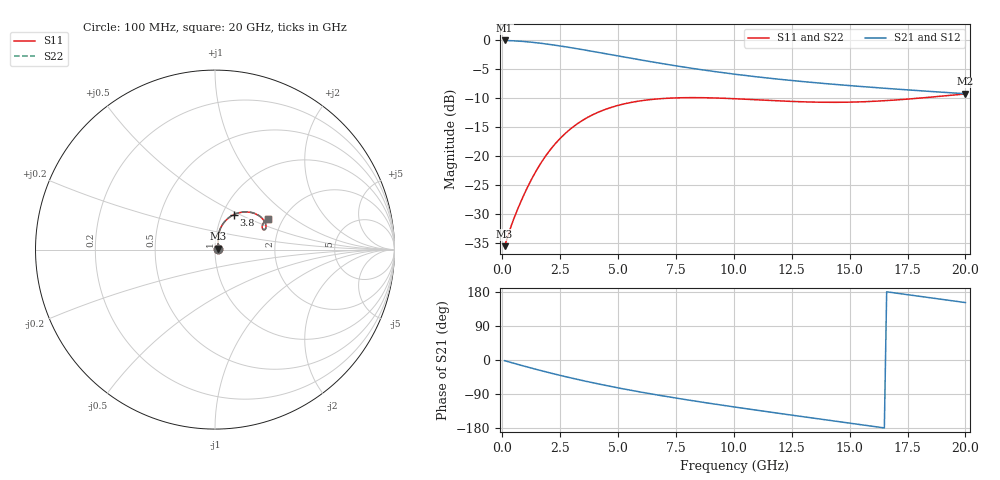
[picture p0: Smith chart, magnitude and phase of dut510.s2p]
! Touchstone file exported from HFSS 2024.1.0
!  File:  C:/UserFiles/LocalFiles/RDL_TSV_Batchsim/temp_RDL_TSV_510_1779739592.aedt
!  Generated:  04:23:33 AM May 26, 2026
!  Design:  RDL_TSV
!  Project:  temp_RDL_TSV_510_1779739592
!  Setup:  Setup1
!  Solution:  Sweep
! Variables:
!  dtsv = 7.38um
!  hbump = 3um
!  htsv = 66.38um
!  ldown = 352.66um
!  lrdl = 514.43um
!  p = 40
!  p1 = 54.29um
!  rhole = 10um
!  subl = 3115.7um
!  t = 450um
!  tdown = 2.39um
!  trdl = 4.02um
!  viad = 10um
!  wdown = 25.7um
!  wrdl = 20.91um
!  xbump = 18um
# GHz S MA R 50.000000
! Terminal data exported
! Port[1] = TM1_1_T1
! Port[2] = TM1_4_T1
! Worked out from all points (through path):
!   200 points, 100 MHz to 20 GHz, reference 50 ohm
!   highest |S21| = -0.14 dB at 100 MHz (marker M1); lowest = -9.3 dB at 20 GHz (marker M2)
!   group delay of S21, straight-line fit = 27.3 ps
!   lowest |S11| = -35.5 dB at 100 MHz (marker M3), VSWR 1.03, Z = 51.6 + j0.533 ohm
!   |S11| at or under -10 dB: start of sweep to 7.673 GHz; 8.826 GHz to 18.2 GHz (9.373 GHz wide, 69.4 % of centre)
!   |S22| runs from -35.5 to -9.3 dB; largest |S21 - S12| = 3e-14
!   S11 on the Smith chart (normalised r, x): 100 MHz: 1.03, +0.01; 3.8 GHz: 1.13, +0.46; 20 GHz: 1.68, +0.65
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0.1  0.01674 17.9  0.9838 -1.8  0.9838 -1.8  0.01674 18.0
! Gamma 0 0 0 0
! Port Impedance 50 0 50 0
0.4  0.02551 47.3  0.979 -7.0  0.979 -7.0  0.0255 47.3
0.8  0.04036 64.9  0.9682 -13.8  0.9682 -13.8  0.04036 65.0
1.2  0.05957 73.5  0.953 -20.4  0.953 -20.4  0.05961 73.6
1.6  0.08263 76.6  0.9339 -26.9  0.9339 -26.9  0.08275 76.7
2  0.1082 76.5  0.912 -33.1  0.912 -33.1  0.1084 76.6
2.5  0.1415 73.7  0.8821 -40.6  0.8821 -40.6  0.1418 73.8
3  0.174 69.5  0.8505 -47.8  0.8505 -47.8  0.1745 69.6
3.5  0.2041 64.7  0.8182 -54.7  0.8182 -54.7  0.2047 64.8
3.8  0.2205 61.8  0.7989 -58.6  0.7989 -58.6  0.2212 61.9
4.4  0.2491 56.0  0.7608 -66.3  0.7608 -66.3  0.2499 56.1
5.1  0.2752 49.6  0.7182 -74.7  0.7182 -74.7  0.2761 49.7
5.9  0.2962 43.1  0.6729 -83.8  0.6729 -83.8  0.2972 43.2
6.8  0.3102 36.9  0.627 -93.4  0.627 -93.4  0.3113 37.0
8.4  0.3171 28.7  0.5587 -109.1  0.5587 -109.1  0.3184 28.8
10.1  0.3099 23.6  0.5026 -124.7  0.5026 -124.7  0.3113 23.7
11.7  0.2989 21.9  0.462 -138.6  0.462 -138.6  0.3003 21.9
13.4  0.2903 22.7  0.4281 -153.1  0.4281 -153.1  0.2917 22.7
15  0.29 25.0  0.4024 -166.6  0.4024 -166.6  0.2913 25.0
16.7  0.2999 27.8  0.3793 179.1  0.3793 179.1  0.3012 27.8
18.3  0.3175 29.6  0.3605 165.7  0.3605 165.7  0.3187 29.5
20  0.341 30.0  0.3426 151.6  0.3426 151.6  0.3422 30.0
